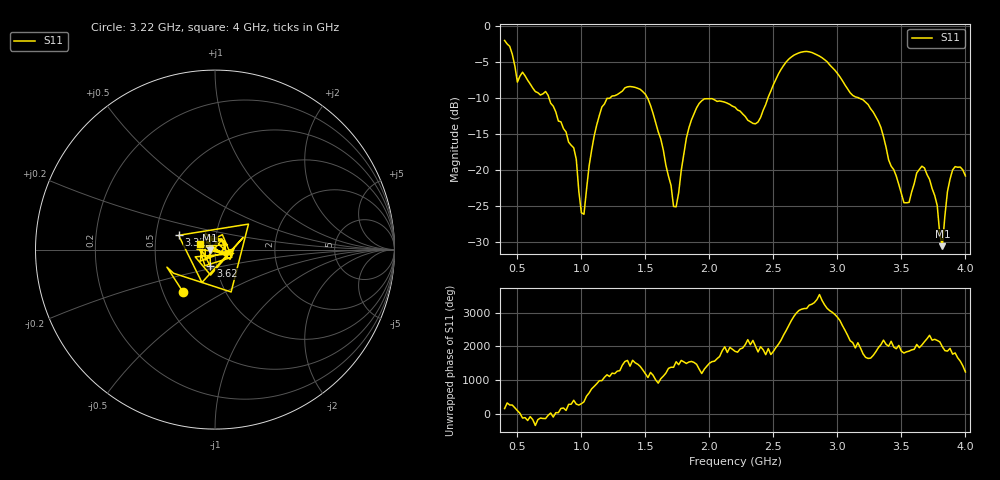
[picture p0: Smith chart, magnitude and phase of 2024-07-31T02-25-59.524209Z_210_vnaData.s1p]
!Created with skrf (http://scikit-rf.org).
# Hz S RI R 50.0
!freq ReS11 ImS11
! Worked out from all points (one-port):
!   181 points, 400 MHz to 4 GHz, reference 50 ohm
!   lowest |S11| = -30.6 dB at 3.82 GHz (marker M1), VSWR 1.06, Z = 47.2 - j0.351 ohm
!   |S11| at or under -10 dB: 746.9 MHz to 1.222 GHz (475.5 MHz wide, 48.3 % of centre); 1.517 GHz to 2.457 GHz (940.3 MHz wide, 47.3 % of centre); 3.17 GHz to end of sweep
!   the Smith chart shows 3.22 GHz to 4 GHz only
!   S11 on the Smith chart (normalised r, x): 3.22 GHz: 0.63, -0.33; 3.32 GHz: 0.66, +0.11; 3.62 GHz: 0.93, -0.17; 4 GHz: 0.84, +0.05
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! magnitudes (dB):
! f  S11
! 400 MHz  -2.0
! 500 MHz  -7.8
! 720 MHz  -9.1
! 860 MHz  -14.3
! 940 MHz  -16.9
! 1.02 GHz  -26.2
! 1.14 GHz  -12.4
! 1.3 GHz  -9.3
! 1.5 GHz  -9.5
! 1.62 GHz  -15.7
! 1.72 GHz  -25.1
! 1.76 GHz  -23.2
! 1.82 GHz  -15.6
! 1.92 GHz  -10.7
! 2.2 GHz  -11.3
! 2.38 GHz  -13.3
! 2.66 GHz  -4.0
! 2.88 GHz  -4.4
! 3.1 GHz  -9.3
! 3.22 GHz  -10.6
! 3.32 GHz  -13.2
! 3.56 GHz  -24.5
! 3.62 GHz  -20.4
! 3.72 GHz  -21.3
! 3.82 GHz  -30.6
! 3.86 GHz  -23.0
! 3.9 GHz  -20.0
! 4 GHz  -20.8
